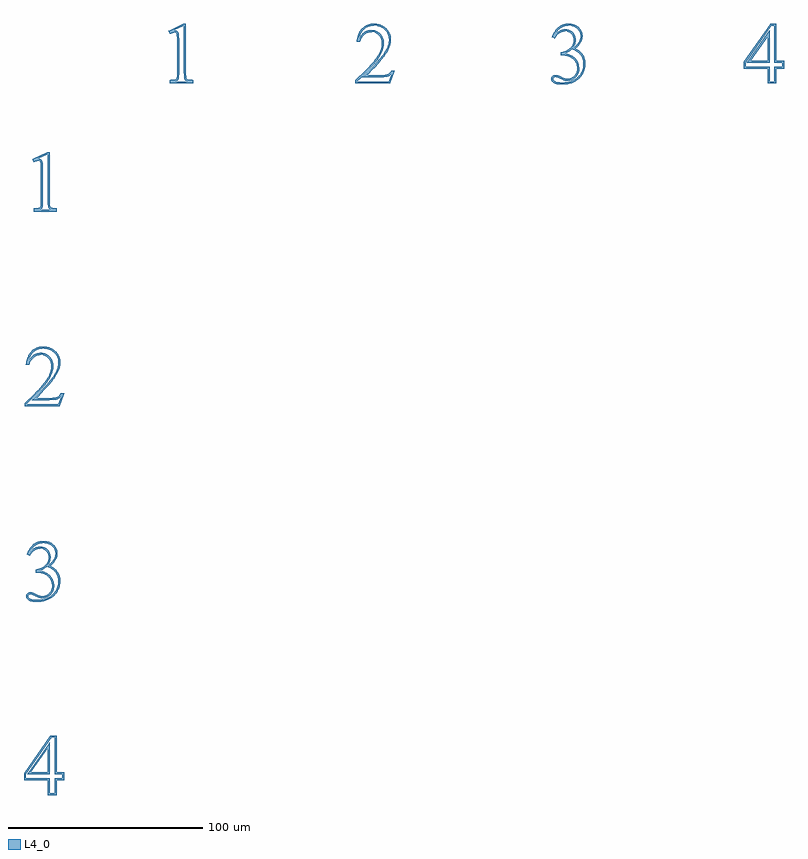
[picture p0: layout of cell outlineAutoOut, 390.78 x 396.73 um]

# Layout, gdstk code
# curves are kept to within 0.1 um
import gdstk
lib = gdstk.Library(unit=1e-6, precision=1e-09)
def P(c, l, *ps):  # polygons
    for p in ps: c.add(gdstk.Polygon(p, *l))
L4_0 = (4, 0)

outlineautoout = lib.new_cell('outlineAutoOut')
P(outlineautoout, L4_0, [(-64.328,-100.5),(-64.828,-100.5),(-64.828,-99.5),(-55.543,-99.5),(-56.413,-99.175),(-57.035,-98.617),(-57.318,-98.074),(-57.489,-96.931),(-57.547,-70.766),(-62.748,-73.255),(-61.785,-73.282),(-61.034,-73.661),(-60.503,-74.37),(-60.215,-75.568),(-60.094,-79.141),(-60.163,-97.063),(-60.456,-98.378),(-61.434,-99.288),(-62.085,-99.5),(-64.828,-99.5),(-64.829,-98.715),(-62.042,-98.461),(-61.383,-97.977),(-61.201,-97.459),(-61.106,-77.718),(-61.24,-75.418),(-61.669,-74.433),(-62.124,-74.232),(-62.694,-74.258),(-64.748,-75.055),(-65.513,-73.488),(-57.866,-69.766),(-56.547,-69.766),(-56.447,-97.377),(-56.223,-98.034),(-55.613,-98.452),(-52.875,-98.714),(-52.875,-100.5)],
  [(-69.047,-200.5),(-69.547,-200.5),(-69.547,-199.5),(-52.21,-199.5),(-50.746,-195.456),(-51.405,-196.114),(-52.306,-196.677),(-54.101,-197.149),(-65.793,-197.25),(-63.905,-195.494),(-60.579,-191.988),(-55.807,-186.552),(-53.516,-182.991),(-52.864,-181.605),(-52.356,-180.017),(-52.125,-178.433),(-52.247,-176.513),(-52.81,-174.904),(-53.575,-173.723),(-54.904,-172.4),(-56.492,-171.441),(-58.297,-170.899),(-59.898,-170.766),(-61.41,-170.89),(-62.774,-171.262),(-63.711,-171.704),(-64.844,-172.511),(-65.723,-173.421),(-66.424,-174.45),(-66.989,-175.636),(-67.504,-177.339),(-66.783,-176.054),(-65.888,-174.989),(-64.962,-174.238),(-63.747,-173.577),(-62.442,-173.18),(-61.047,-173.047),(-59.502,-173.238),(-58.37,-173.664),(-57.331,-174.332),(-56.392,-175.238),(-55.648,-176.302),(-55.133,-177.494),(-54.846,-178.815),(-54.794,-180.366),(-54.981,-181.828),(-55.391,-183.341),(-56.287,-185.438),(-57.22,-187.07),(-60.328,-191.166),(-63.549,-194.629),(-68.547,-199.5),(-69.547,-199.5),(-69.547,-198.982),(-62.965,-192.585),(-60.594,-189.938),(-58.783,-187.61),(-57.47,-185.533),(-56.531,-183.554),(-55.968,-181.673),(-55.793,-180.327),(-55.999,-178.095),(-56.389,-177.042),(-56.974,-176.105),(-57.735,-175.297),(-58.583,-174.685),(-59.508,-174.276),(-60.509,-174.072),(-62.476,-174.21),(-64.202,-174.936),(-65.168,-175.683),(-65.981,-176.652),(-67.062,-179),(-68.792,-179.001),(-68.318,-176.473),(-67.699,-174.753),(-66.86,-173.272),(-65.799,-172.03),(-64.544,-171.04),(-63.143,-170.333),(-61.188,-169.846),(-59.443,-169.775),(-57.684,-170.002),(-56.079,-170.53),(-54.627,-171.359),(-53.638,-172.178),(-52.533,-173.444),(-51.743,-174.821),(-51.358,-175.926),(-51.12,-177.496),(-51.177,-179.07),(-51.531,-180.814),(-52.867,-183.896),(-54.996,-187.137),(-57.428,-190.041),(-63.247,-196.25),(-55.821,-196.24),(-53.708,-196.086),(-52.738,-195.775),(-52.051,-195.35),(-50.917,-193.891),(-49.114,-193.89),(-51.508,-200.5)],
  [(-63.141,-301.016),(-65.77,-300.809),(-66.926,-300.472),(-67.675,-300.016),(-61.081,-299.895),(-58.651,-299.358),(-57.054,-298.673),(-55.226,-297.385),(-53.905,-295.908),(-52.878,-294.096),(-52.298,-292.096),(-52.156,-290.359),(-52.281,-288.864),(-52.657,-287.5),(-53.284,-286.268),(-54.163,-285.175),(-55.287,-284.244),(-56.364,-283.617),(-58.058,-282.911),(-55.743,-280.767),(-54.801,-279.588),(-54.129,-278.43),(-53.727,-277.291),(-53.594,-276.172),(-53.72,-275.095),(-54.102,-274.059),(-54.592,-273.259),(-55.593,-272.154),(-57.309,-271.168),(-58.33,-270.897),(-59.881,-270.766),(-61.153,-270.858),(-62.586,-271.235),(-63.842,-271.902),(-64.985,-272.902),(-65.932,-274.072),(-66.773,-275.471),(-65.62,-274.256),(-64.354,-273.387),(-63.331,-272.962),(-61.868,-272.699),(-60.397,-272.783),(-59.167,-273.167),(-57.882,-274.016),(-57.019,-275.013),(-56.373,-276.443),(-56.163,-277.827),(-56.274,-279.455),(-56.795,-281.096),(-57.472,-282.221),(-58.806,-283.531),(-60.204,-284.406),(-61.836,-285.084),(-60.144,-285.417),(-58.345,-286.16),(-57.008,-286.984),(-55.934,-288.034),(-55.125,-289.413),(-54.528,-291.15),(-54.328,-292.937),(-54.502,-294.442),(-55.018,-295.816),(-55.879,-297.058),(-57.018,-298.099),(-58.554,-298.879),(-59.968,-299.133),(-61.67,-298.997),(-62.838,-298.608),(-65.326,-297.375),(-66.5,-297.141),(-67.18,-297.333),(-67.671,-297.923),(-67.668,-298.504),(-67.245,-299.08),(-66.61,-299.521),(-65.912,-299.763),(-63.128,-300.016),(-67.675,-300.016),(-68.216,-299.499),(-68.636,-298.75),(-68.676,-297.812),(-68.343,-297.079),(-67.529,-296.381),(-66.721,-296.151),(-65.256,-296.336),(-61.467,-298.018),(-60.013,-298.135),(-58.85,-297.924),(-57.989,-297.539),(-57,-296.786),(-56.163,-295.79),(-55.611,-294.678),(-55.334,-293.199),(-55.504,-291.366),(-56.163,-289.566),(-57.004,-288.311),(-58.489,-287.216),(-60.302,-286.415),(-61.843,-286.088),(-63.812,-286.047),(-63.812,-284.447),(-61.78,-284.011),(-60.169,-283.242),(-58.797,-282.209),(-57.868,-281.002),(-57.334,-279.632),(-57.156,-278.125),(-57.328,-276.738),(-57.97,-275.395),(-58.708,-274.624),(-59.778,-273.993),(-61.022,-273.707),(-62.248,-273.739),(-63.657,-274.155),(-64.632,-274.74),(-65.825,-275.885),(-66.878,-277.397),(-68.411,-276.647),(-67.534,-274.773),(-66.548,-273.216),(-65.426,-271.926),(-64.415,-271.083),(-63.272,-270.438),(-61.67,-269.934),(-60.249,-269.773),(-58.535,-269.854),(-56.571,-270.384),(-55.242,-271.154),(-53.769,-272.691),(-52.888,-274.374),(-52.648,-275.387),(-52.608,-276.567),(-53.098,-278.558),(-54.285,-280.569),(-56.169,-282.602),(-54.6,-283.504),(-53.714,-284.219),(-52.622,-285.462),(-51.981,-286.549),(-51.437,-288.037),(-51.208,-289.33),(-51.315,-292.277),(-51.789,-294.062),(-52.826,-296.107),(-54.106,-297.692),(-55.504,-298.887),(-57.107,-299.817),(-58.914,-300.482),(-60.925,-300.881)],
  [(-56.984,-400.5),(-57.484,-400.5),(-57.484,-399.5),(-53.937,-399.5),(-53.937,-391.812),(-50.031,-391.812),(-50.031,-389.75),(-53.937,-389.75),(-53.937,-370.766),(-55.537,-370.766),(-68.812,-389.72),(-68.812,-391.812),(-56.484,-391.812),(-56.484,-399.5),(-57.484,-399.5),(-57.484,-392.812),(-69.812,-392.812),(-69.812,-389.405),(-56.057,-369.766),(-52.937,-369.766),(-52.937,-388.75),(-49.031,-388.75),(-49.031,-392.812),(-52.937,-392.812),(-52.937,-400.5)],
  [(-68.17,-389.751),(-67.611,-388.961),(-67.462,-388.75),(-57.484,-388.75),(-57.484,-376.37),(-66.237,-388.75),(-67.462,-388.75),(-57.393,-374.508),(-56.484,-373.219),(-56.484,-389.25),(-56.484,-389.75),(-67.203,-389.75)],
  [(5.672,-34.5),(5.172,-34.5),(5.172,-33.5),(14.457,-33.5),(13.587,-33.175),(12.965,-32.617),(12.682,-32.074),(12.511,-30.931),(12.453,-4.766),(7.252,-7.255),(8.215,-7.282),(8.966,-7.661),(9.497,-8.37),(9.785,-9.568),(9.906,-13.141),(9.837,-31.063),(9.544,-32.378),(8.566,-33.288),(7.915,-33.5),(5.172,-33.5),(5.171,-32.715),(7.958,-32.461),(8.617,-31.977),(8.799,-31.459),(8.894,-11.718),(8.76,-9.418),(8.331,-8.433),(7.876,-8.232),(7.306,-8.258),(5.252,-9.055),(4.487,-7.488),(12.134,-3.766),(13.453,-3.766),(13.553,-31.377),(13.777,-32.034),(14.387,-32.452),(17.125,-32.714),(17.125,-34.5)],
  [(100.953,-34.5),(100.453,-34.5),(100.453,-33.5),(117.79,-33.5),(119.254,-29.456),(118.595,-30.114),(117.694,-30.677),(115.899,-31.149),(104.207,-31.25),(106.095,-29.494),(109.421,-25.988),(114.193,-20.552),(116.484,-16.991),(117.136,-15.605),(117.644,-14.017),(117.875,-12.433),(117.753,-10.513),(117.19,-8.904),(116.425,-7.723),(115.096,-6.4),(113.508,-5.441),(111.703,-4.899),(110.102,-4.766),(108.59,-4.89),(107.226,-5.262),(106.289,-5.704),(105.156,-6.511),(104.277,-7.421),(103.576,-8.45),(103.011,-9.636),(102.496,-11.339),(103.217,-10.054),(104.112,-8.989),(105.038,-8.238),(106.253,-7.577),(107.558,-7.18),(108.953,-7.047),(110.498,-7.238),(111.63,-7.664),(112.669,-8.332),(113.608,-9.238),(114.352,-10.302),(114.867,-11.494),(115.154,-12.815),(115.206,-14.366),(115.019,-15.828),(114.609,-17.341),(113.713,-19.438),(112.78,-21.07),(109.672,-25.166),(106.451,-28.629),(101.453,-33.5),(100.453,-33.5),(100.453,-32.982),(107.035,-26.585),(109.406,-23.938),(111.217,-21.61),(112.53,-19.533),(113.469,-17.554),(114.032,-15.673),(114.207,-14.327),(114.001,-12.095),(113.611,-11.042),(113.026,-10.105),(112.265,-9.297),(111.417,-8.685),(110.492,-8.276),(109.491,-8.072),(107.524,-8.21),(105.798,-8.936),(104.832,-9.683),(104.019,-10.652),(102.938,-13),(101.208,-13.001),(101.682,-10.473),(102.301,-8.753),(103.14,-7.272),(104.201,-6.03),(105.456,-5.04),(106.857,-4.333),(108.812,-3.846),(110.557,-3.775),(112.316,-4.002),(113.921,-4.53),(115.373,-5.359),(116.362,-6.178),(117.467,-7.444),(118.257,-8.821),(118.642,-9.926),(118.88,-11.496),(118.823,-13.07),(118.469,-14.814),(117.133,-17.896),(115.004,-21.137),(112.572,-24.041),(106.753,-30.25),(114.179,-30.24),(116.292,-30.086),(117.262,-29.775),(117.949,-29.35),(119.083,-27.891),(120.886,-27.89),(118.492,-34.5)],
  [(206.859,-35.016),(204.23,-34.809),(203.074,-34.472),(202.325,-34.016),(208.919,-33.895),(211.349,-33.358),(212.946,-32.673),(214.774,-31.385),(216.095,-29.908),(217.122,-28.096),(217.702,-26.096),(217.844,-24.359),(217.719,-22.864),(217.343,-21.5),(216.716,-20.268),(215.837,-19.175),(214.713,-18.244),(213.636,-17.617),(211.942,-16.911),(214.257,-14.767),(215.199,-13.588),(215.871,-12.43),(216.273,-11.291),(216.406,-10.172),(216.28,-9.095),(215.898,-8.059),(215.408,-7.259),(214.407,-6.154),(212.691,-5.168),(211.67,-4.897),(210.119,-4.766),(208.847,-4.858),(207.414,-5.235),(206.158,-5.902),(205.015,-6.902),(204.068,-8.072),(203.227,-9.471),(204.38,-8.256),(205.646,-7.387),(206.669,-6.962),(208.132,-6.699),(209.603,-6.783),(210.833,-7.167),(212.118,-8.016),(212.981,-9.013),(213.627,-10.443),(213.837,-11.827),(213.726,-13.455),(213.205,-15.096),(212.528,-16.221),(211.194,-17.531),(209.796,-18.406),(208.164,-19.084),(209.856,-19.417),(211.655,-20.16),(212.992,-20.984),(214.066,-22.034),(214.875,-23.413),(215.472,-25.15),(215.672,-26.937),(215.499,-28.442),(214.982,-29.816),(214.121,-31.058),(212.982,-32.099),(211.446,-32.879),(210.032,-33.133),(208.33,-32.997),(207.162,-32.608),(204.674,-31.375),(203.5,-31.141),(202.82,-31.333),(202.329,-31.923),(202.332,-32.504),(202.755,-33.08),(203.39,-33.521),(204.088,-33.763),(206.872,-34.016),(202.325,-34.016),(201.784,-33.499),(201.364,-32.75),(201.324,-31.812),(201.657,-31.079),(202.471,-30.381),(203.279,-30.151),(204.744,-30.336),(208.533,-32.018),(209.987,-32.135),(211.15,-31.924),(212.011,-31.539),(213,-30.786),(213.837,-29.79),(214.389,-28.678),(214.666,-27.199),(214.496,-25.366),(213.837,-23.566),(212.996,-22.311),(211.511,-21.216),(209.698,-20.415),(208.157,-20.088),(206.188,-20.047),(206.188,-18.447),(208.22,-18.011),(209.831,-17.242),(211.203,-16.209),(212.132,-15.002),(212.666,-13.632),(212.844,-12.125),(212.672,-10.738),(212.03,-9.395),(211.292,-8.624),(210.222,-7.993),(208.978,-7.707),(207.752,-7.739),(206.343,-8.155),(205.368,-8.741),(204.175,-9.885),(203.122,-11.397),(201.589,-10.647),(202.466,-8.773),(203.452,-7.216),(204.574,-5.926),(205.585,-5.083),(206.728,-4.438),(208.33,-3.934),(209.751,-3.773),(211.465,-3.854),(213.429,-4.384),(214.758,-5.154),(216.231,-6.691),(217.112,-8.374),(217.352,-9.387),(217.392,-10.567),(216.902,-12.558),(215.715,-14.569),(213.831,-16.602),(215.4,-17.504),(216.286,-18.219),(217.378,-19.462),(218.019,-20.549),(218.563,-22.037),(218.792,-23.33),(218.685,-26.277),(218.211,-28.062),(217.174,-30.107),(215.894,-31.692),(214.496,-32.887),(212.893,-33.817),(211.086,-34.482),(209.075,-34.881)],
  [(313.016,-34.5),(312.516,-34.5),(312.516,-33.5),(316.063,-33.5),(316.063,-25.812),(319.969,-25.812),(319.969,-23.75),(316.063,-23.75),(316.063,-4.766),(314.463,-4.766),(301.188,-23.72),(301.188,-25.812),(313.516,-25.812),(313.516,-33.5),(312.516,-33.5),(312.516,-26.812),(300.188,-26.812),(300.188,-23.405),(313.943,-3.766),(317.063,-3.766),(317.063,-22.75),(320.969,-22.75),(320.969,-26.812),(317.063,-26.812),(317.063,-34.5)],
  [(301.83,-23.751),(302.389,-22.961),(302.538,-22.75),(312.516,-22.75),(312.516,-10.37),(303.763,-22.75),(302.538,-22.75),(312.607,-8.508),(313.516,-7.219),(313.516,-23.25),(313.516,-23.75),(302.797,-23.75)])

lib.write_gds('outlineAutoOut.gds')
